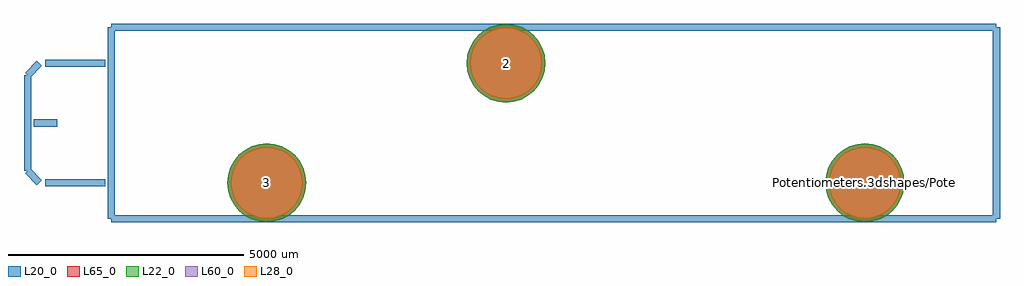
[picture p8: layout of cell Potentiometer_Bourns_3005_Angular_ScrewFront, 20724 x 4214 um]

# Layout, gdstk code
import gdstk
lib = gdstk.Library(unit=1e-6, precision=1e-09)
def P(c, l, *ps):  # polygons
    for p in ps: c.add(gdstk.Polygon(p, *l))
L20_0 = (20, 0)
L22_0 = (22, 0)
L28_0 = (28, 0)
L60_0 = (60, 0)
L65_0 = (65, 0)

potentiometer_bourns_300 = lib.new_cell('Potentiometer_Bourns_3005_Angular_ScrewFront')
P(potentiometer_bourns_300, L22_0, [(837,0),(820.917,163.291),(773.287,320.306),(695.94,465.012),(591.848,591.848),(465.012,695.94),(320.306,773.287),(163.291,820.917),(0,837),(-163.291,820.917),(-320.306,773.287),(-465.012,695.94),(-591.848,591.848),(-695.94,465.012),(-773.287,320.306),(-820.917,163.291),(-837,0),(-820.917,-163.291),(-773.287,-320.306),(-695.94,-465.012),(-591.848,-591.848),(-465.012,-695.94),(-320.306,-773.287),(-163.291,-820.917),(0,-837),(163.291,-820.917),(320.306,-773.287),(465.012,-695.94),(591.848,-591.848),(695.94,-465.012),(773.287,-320.306),(820.917,-163.291)],
  [(-6783,2540),(-6799.083,2703.291),(-6846.713,2860.306),(-6924.06,3005.012),(-7028.152,3131.848),(-7154.988,3235.94),(-7299.694,3313.287),(-7456.709,3360.917),(-7620,3377),(-7783.291,3360.917),(-7940.306,3313.287),(-8085.012,3235.94),(-8211.848,3131.848),(-8315.94,3005.012),(-8393.287,2860.306),(-8440.917,2703.291),(-8457,2540),(-8440.917,2376.709),(-8393.287,2219.694),(-8315.94,2074.988),(-8211.848,1948.152),(-8085.012,1844.06),(-7940.306,1766.713),(-7783.291,1719.083),(-7620,1703),(-7456.709,1719.083),(-7299.694,1766.713),(-7154.988,1844.06),(-7028.152,1948.152),(-6924.06,2074.988),(-6846.713,2219.694),(-6799.083,2376.709)],
  [(-11863,0),(-11879.083,163.291),(-11926.713,320.306),(-12004.06,465.012),(-12108.152,591.848),(-12234.988,695.94),(-12379.694,773.287),(-12536.709,820.917),(-12700,837),(-12863.291,820.917),(-13020.306,773.287),(-13165.012,695.94),(-13291.848,591.848),(-13395.94,465.012),(-13473.287,320.306),(-13520.917,163.291),(-13537,0),(-13520.917,-163.291),(-13473.287,-320.306),(-13395.94,-465.012),(-13291.848,-591.848),(-13165.012,-695.94),(-13020.306,-773.287),(-12863.291,-820.917),(-12700,-837),(-12536.709,-820.917),(-12379.694,-773.287),(-12234.988,-695.94),(-12108.152,-591.848),(-12004.06,-465.012),(-11926.713,-320.306),(-11879.083,-163.291)])
P(potentiometer_bourns_300, L28_0, [(762,0),(747.358,148.659),(703.996,291.605),(633.58,423.345),(538.815,538.815),(423.345,633.58),(291.605,703.996),(148.659,747.358),(0,762),(-148.659,747.358),(-291.605,703.996),(-423.345,633.58),(-538.815,538.815),(-633.58,423.345),(-703.996,291.605),(-747.358,148.659),(-762,0),(-747.358,-148.659),(-703.996,-291.605),(-633.58,-423.345),(-538.815,-538.815),(-423.345,-633.58),(-291.605,-703.996),(-148.659,-747.358),(0,-762),(148.659,-747.358),(291.605,-703.996),(423.345,-633.58),(538.815,-538.815),(633.58,-423.345),(703.996,-291.605),(747.358,-148.659)],
  [(-6858,2540),(-6872.642,2688.659),(-6916.004,2831.605),(-6986.42,2963.345),(-7081.185,3078.815),(-7196.655,3173.58),(-7328.395,3243.996),(-7471.341,3287.358),(-7620,3302),(-7768.659,3287.358),(-7911.605,3243.996),(-8043.345,3173.58),(-8158.815,3078.815),(-8253.58,2963.345),(-8323.996,2831.605),(-8367.358,2688.659),(-8382,2540),(-8367.358,2391.341),(-8323.996,2248.395),(-8253.58,2116.655),(-8158.815,2001.185),(-8043.345,1906.42),(-7911.605,1836.004),(-7768.659,1792.642),(-7620,1778),(-7471.341,1792.642),(-7328.395,1836.004),(-7196.655,1906.42),(-7081.185,2001.185),(-6986.42,2116.655),(-6916.004,2248.395),(-6872.642,2391.341)],
  [(-11938,0),(-11952.642,148.659),(-11996.004,291.605),(-12066.42,423.345),(-12161.185,538.815),(-12276.655,633.58),(-12408.395,703.996),(-12551.341,747.358),(-12700,762),(-12848.659,747.358),(-12991.605,703.996),(-13123.345,633.58),(-13238.815,538.815),(-13333.58,423.345),(-13403.996,291.605),(-13447.358,148.659),(-13462,0),(-13447.358,-148.659),(-13403.996,-291.605),(-13333.58,-423.345),(-13238.815,-538.815),(-13123.345,-633.58),(-12991.605,-703.996),(-12848.659,-747.358),(-12700,-762),(-12551.341,-747.358),(-12408.395,-703.996),(-12276.655,-633.58),(-12161.185,-538.815),(-12066.42,-423.345),(-11996.004,-291.605),(-11952.642,-148.659)])
P(potentiometer_bourns_300, L60_0, [(762,0),(747.358,148.659),(703.996,291.605),(633.58,423.345),(538.815,538.815),(423.345,633.58),(291.605,703.996),(148.659,747.358),(0,762),(-148.659,747.358),(-291.605,703.996),(-423.345,633.58),(-538.815,538.815),(-633.58,423.345),(-703.996,291.605),(-747.358,148.659),(-762,0),(-747.358,-148.659),(-703.996,-291.605),(-633.58,-423.345),(-538.815,-538.815),(-423.345,-633.58),(-291.605,-703.996),(-148.659,-747.358),(0,-762),(148.659,-747.358),(291.605,-703.996),(423.345,-633.58),(538.815,-538.815),(633.58,-423.345),(703.996,-291.605),(747.358,-148.659)],
  [(-6858,2540),(-6872.642,2688.659),(-6916.004,2831.605),(-6986.42,2963.345),(-7081.185,3078.815),(-7196.655,3173.58),(-7328.395,3243.996),(-7471.341,3287.358),(-7620,3302),(-7768.659,3287.358),(-7911.605,3243.996),(-8043.345,3173.58),(-8158.815,3078.815),(-8253.58,2963.345),(-8323.996,2831.605),(-8367.358,2688.659),(-8382,2540),(-8367.358,2391.341),(-8323.996,2248.395),(-8253.58,2116.655),(-8158.815,2001.185),(-8043.345,1906.42),(-7911.605,1836.004),(-7768.659,1792.642),(-7620,1778),(-7471.341,1792.642),(-7328.395,1836.004),(-7196.655,1906.42),(-7081.185,2001.185),(-6986.42,2116.655),(-6916.004,2248.395),(-6872.642,2391.341)],
  [(-11938,0),(-11952.642,148.659),(-11996.004,291.605),(-12066.42,423.345),(-12161.185,538.815),(-12276.655,633.58),(-12408.395,703.996),(-12551.341,747.358),(-12700,762),(-12848.659,747.358),(-12991.605,703.996),(-13123.345,633.58),(-13238.815,538.815),(-13333.58,423.345),(-13403.996,291.605),(-13447.358,148.659),(-13462,0),(-13447.358,-148.659),(-13403.996,-291.605),(-13333.58,-423.345),(-13238.815,-538.815),(-13123.345,-633.58),(-12991.605,-703.996),(-12848.659,-747.358),(-12700,-762),(-12551.341,-747.358),(-12408.395,-703.996),(-12276.655,-633.58),(-12161.185,-538.815),(-12066.42,-423.345),(-11996.004,-291.605),(-11952.642,-148.659)])
P(potentiometer_bourns_300, L65_0, [(837,0),(820.917,163.291),(773.287,320.306),(695.94,465.012),(591.848,591.848),(465.012,695.94),(320.306,773.287),(163.291,820.917),(0,837),(-163.291,820.917),(-320.306,773.287),(-465.012,695.94),(-591.848,591.848),(-695.94,465.012),(-773.287,320.306),(-820.917,163.291),(-837,0),(-820.917,-163.291),(-773.287,-320.306),(-695.94,-465.012),(-591.848,-591.848),(-465.012,-695.94),(-320.306,-773.287),(-163.291,-820.917),(0,-837),(163.291,-820.917),(320.306,-773.287),(465.012,-695.94),(591.848,-591.848),(695.94,-465.012),(773.287,-320.306),(820.917,-163.291)],
  [(-6783,2540),(-6799.083,2703.291),(-6846.713,2860.306),(-6924.06,3005.012),(-7028.152,3131.848),(-7154.988,3235.94),(-7299.694,3313.287),(-7456.709,3360.917),(-7620,3377),(-7783.291,3360.917),(-7940.306,3313.287),(-8085.012,3235.94),(-8211.848,3131.848),(-8315.94,3005.012),(-8393.287,2860.306),(-8440.917,2703.291),(-8457,2540),(-8440.917,2376.709),(-8393.287,2219.694),(-8315.94,2074.988),(-8211.848,1948.152),(-8085.012,1844.06),(-7940.306,1766.713),(-7783.291,1719.083),(-7620,1703),(-7456.709,1719.083),(-7299.694,1766.713),(-7154.988,1844.06),(-7028.152,1948.152),(-6924.06,2074.988),(-6846.713,2219.694),(-6799.083,2376.709)],
  [(-11863,0),(-11879.083,163.291),(-11926.713,320.306),(-12004.06,465.012),(-12108.152,591.848),(-12234.988,695.94),(-12379.694,773.287),(-12536.709,820.917),(-12700,837),(-12863.291,820.917),(-13020.306,773.287),(-13165.012,695.94),(-13291.848,591.848),(-13395.94,465.012),(-13473.287,320.306),(-13520.917,163.291),(-13537,0),(-13520.917,-163.291),(-13473.287,-320.306),(-13395.94,-465.012),(-13291.848,-591.848),(-13165.012,-695.94),(-13020.306,-773.287),(-12863.291,-820.917),(-12700,-837),(-12536.709,-820.917),(-12379.694,-773.287),(-12234.988,-695.94),(-12108.152,-591.848),(-12004.06,-465.012),(-11926.713,-320.306),(-11879.083,-163.291)])
potentiometer_bourns_300.add(gdstk.FlexPath([(2794,3302),(-16002,3302)], 149.998, ends="flush", simple_path=True, layer=20, datatype=0))  # L20_0
potentiometer_bourns_300.add(gdstk.FlexPath([(-16002,-762),(2794,-762)], 149.998, ends="flush", simple_path=True, layer=20, datatype=0))  # L20_0
potentiometer_bourns_300.add(gdstk.FlexPath([(2794,-762),(2794,3302)], 149.998, ends="flush", simple_path=True, layer=20, datatype=0))  # L20_0
potentiometer_bourns_300.add(gdstk.FlexPath([(-16002,-762),(-16002,3302)], 149.998, ends="flush", simple_path=True, layer=20, datatype=0))  # L20_0
potentiometer_bourns_300.add(gdstk.FlexPath([(-17653,1270),(-17145,1270)], 149.998, ends="flush", simple_path=True, layer=20, datatype=0))  # L20_0
potentiometer_bourns_300.add(gdstk.FlexPath([(-16129,0),(-17399,0)], 149.998, ends="flush", simple_path=True, layer=20, datatype=0))  # L20_0
potentiometer_bourns_300.add(gdstk.FlexPath([(-16129,2540),(-17399,2540)], 149.998, ends="flush", simple_path=True, layer=20, datatype=0))  # L20_0
potentiometer_bourns_300.add(gdstk.FlexPath([(-17780,254),(-17526,0)], 149.998, ends="flush", simple_path=True, layer=20, datatype=0))  # L20_0
potentiometer_bourns_300.add(gdstk.FlexPath([(-17780,1270),(-17780,254)], 149.998, ends="flush", simple_path=True, layer=20, datatype=0))  # L20_0
potentiometer_bourns_300.add(gdstk.FlexPath([(-17780,2286),(-17780,1270)], 149.998, ends="flush", simple_path=True, layer=20, datatype=0))  # L20_0
potentiometer_bourns_300.add(gdstk.FlexPath([(-17526,2540),(-17780,2286)], 149.998, ends="flush", simple_path=True, layer=20, datatype=0))  # L20_0
potentiometer_bourns_300.add(gdstk.Label('Potentiometers.3dshapes/Potentiometer_Bourns_3005_Angular_ScrewFront.wrl', (0,0), layer=12, texttype=0))
potentiometer_bourns_300.add(gdstk.Label('1', (0,0), layer=28, texttype=0))
potentiometer_bourns_300.add(gdstk.Label('2', (-7620,2540), layer=28, texttype=0))
potentiometer_bourns_300.add(gdstk.Label('3', (-12700,0), layer=28, texttype=0))
potentiometer_bourns_300.add(gdstk.Label('type', (-6604,-3810), layer=9, texttype=0))
potentiometer_bourns_300.add(gdstk.Label('devicename', (-6604,6350), layer=9, texttype=0))

lib.write_gds('Potentiometer_Bourns_3005_Angular_ScrewFront.gds')
